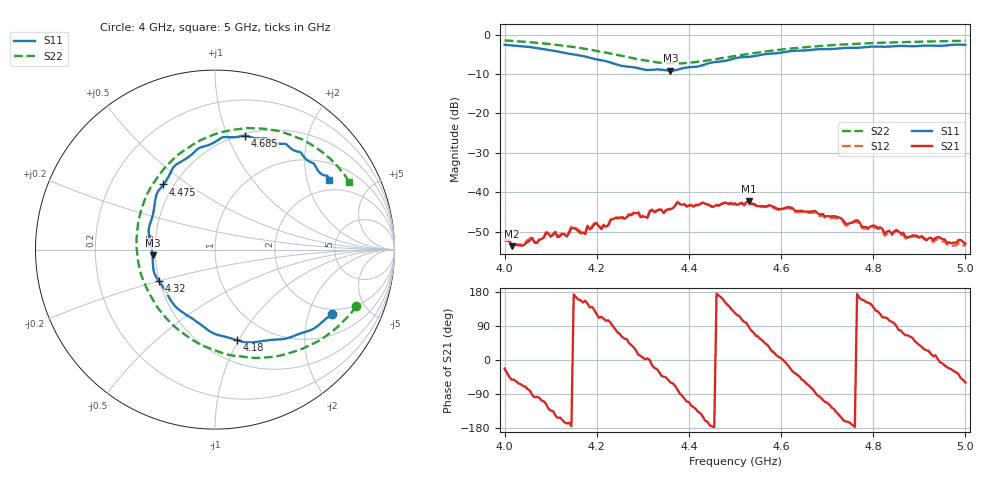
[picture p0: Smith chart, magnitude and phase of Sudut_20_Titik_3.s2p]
# Hz S RI R 50
! CMT, C1220, 16058040, 17.2.0/1
! Date: 15/08/2018 12:36:51
! Data: Format (Calibration Info)
! Freq  S11: Re/Im (F2)  S21: Re/Im (F2)  S12: Re/Im (F2)  S22: Re/Im (F2)
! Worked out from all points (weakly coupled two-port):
!   201 points, 4 GHz to 5 GHz, reference 50 ohm
!   highest |S21| = -42.28 dB at 4.53 GHz (marker M1); lowest = -53.7 dB at 4.015 GHz (marker M2)
!   lowest |S11| = -9.1 dB at 4.36 GHz (marker M3), VSWR 2.07, Z = 24.1 - j1.7 ohm
!   |S11| at or under -10 dB: nowhere
!   |S22| runs from -7.3 to -1.4 dB; largest |S21 - S12| = 0.00031
!   S11 on the Smith chart (normalised r, x): 4 GHz: 1.78, -2.88; 4.18 GHz: 0.71, -0.99; 4.32 GHz: 0.50, -0.20; 4.475 GHz: 0.44, +0.41; 4.685 GHz: 0.52, +1.16; 5 GHz: 1.57, +2.74
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4e9  0.6535 -0.3597  0.00228 -0.000952  0.00239 -0.000868  0.7857 -0.3165
4.015e9  0.6275 -0.3783  0.00128 -0.00162  0.0014 -0.00161  0.7599 -0.3515
4.07e9  0.4986 -0.4596  -0.000289 -0.00225  -0.000306 -0.00226  0.638 -0.4664
4.09e9  0.4367 -0.482  -0.00134 -0.00272  -0.00137 -0.0028  0.5825 -0.5056
4.135e9  0.2858 -0.5065  -0.00266 -0.000589  -0.0027 -0.000671  0.4337 -0.57
4.145e9  0.2464 -0.5119  -0.00349 -0.000347  -0.00366 -0.000509  0.396 -0.5817
4.17e9  0.1556 -0.5145  -0.00271 0.00145  -0.00283 0.00147  0.3002 -0.5997
4.18e9  0.1229 -0.5054  -0.00312 0.00194  -0.00322 0.00193  0.2573 -0.6025
4.21e9  0.0137 -0.4747  -0.00138 0.0031  -0.00142 0.00312  0.1292 -0.5941
4.28e9  -0.22 -0.3175  0.0045 0.00299  0.00459 0.00309  -0.1728 -0.4707
4.31e9  -0.2877 -0.211  0.00469 0.000354  0.00485 0.000293  -0.282 -0.3698
4.32e9  -0.3135 -0.1745  0.00583 -0.00144  0.00592 -0.00148  -0.3143 -0.3303
4.335e9  -0.3404 -0.1247  0.00514 -0.00306  0.00507 -0.00321  -0.3542 -0.265
4.36e9  -0.348 -0.0309  0.00309 -0.00523  0.00308 -0.00528  -0.4094 -0.1472
4.375e9  -0.358 0.0375  0.00156 -0.00725  0.00154 -0.00741  -0.4277 -0.0709
4.475e9  -0.287 0.3632  -0.00678 0.00268  -0.00667 0.00285  -0.3327 0.3841
4.5e9  -0.2416 0.4406  -0.004 0.00601  -0.00389 0.00593  -0.2715 0.464
4.53e9  -0.187 0.4905  0.000401 0.00768  0.000582 0.00751  -0.1879 0.5418
4.67e9  0.142 0.6307  0.0011 -0.00563  0.00094 -0.00542  0.2118 0.6764
4.685e9  0.1681 0.635  -0.0007 -0.00514  -0.000683 -0.00492  0.2508 0.6744
4.835e9  0.4452 0.5502  -0.000765 0.00313  -0.000752 0.00291  0.5543 0.5734
5e9  0.6354 0.3887  0.00113 -0.0019  0.00114 -0.00173  0.7479 0.3794
